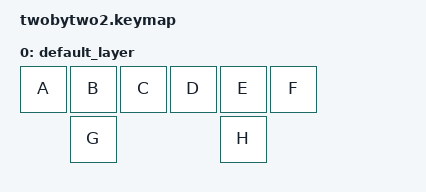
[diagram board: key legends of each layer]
#include <behaviors.dtsi>
#include <dt-bindings/zmk/keys.h>
#include <dt-bindings/zmk/bt.h>   // this is required when I want to issue &bt commands.


/ {
  keymap {
    compatible = "zmk,keymap";

  default_layer {

// +-----+-----+-----+   +-----+-----+-----+
// |  A  |  B  |  C  |   |  D  |  E  |  F  |
// +-----+-----+-----+   +-----+-----+-----+
// |        G        |   |        H        |
// +-----------------+   +-----------------+

    bindings = <
//      &bt BT_CLR   &bt BT_NXT    &kp C
           &kp A   &kp B   &kp C   &kp D   &kp E    &kp F
                   &kp G                   &kp H
      >;
    };
  };
};
